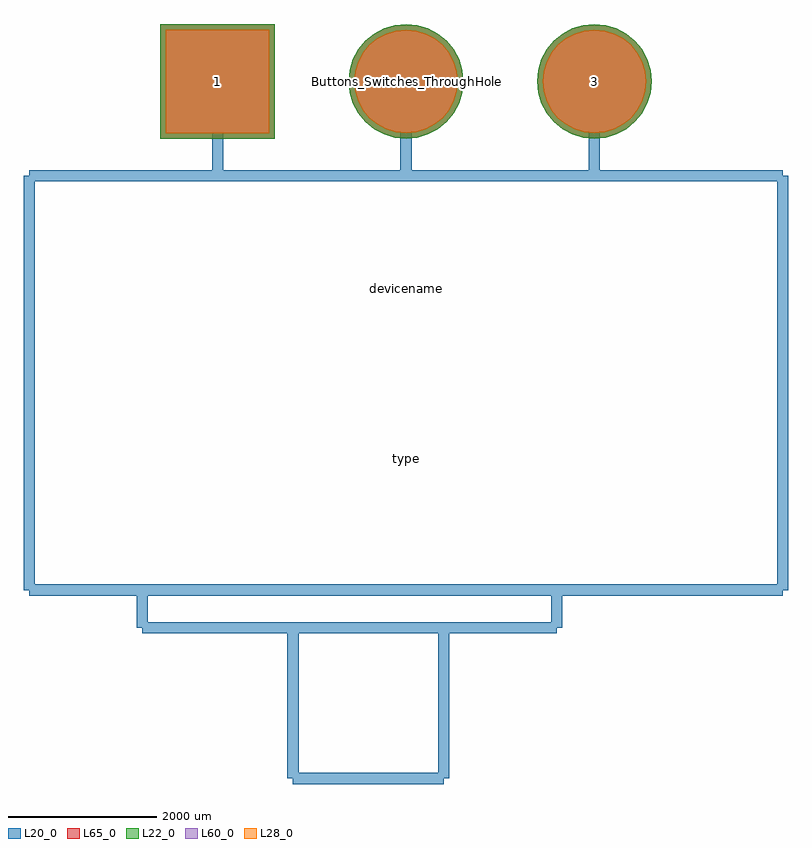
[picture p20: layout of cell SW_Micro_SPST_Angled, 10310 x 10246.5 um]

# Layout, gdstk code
import gdstk
lib = gdstk.Library(unit=1e-6, precision=1e-09)
def R(c, l, rs):  # rectangles x0, y0, x1, y1
    for r in rs: c.add(gdstk.rectangle(r[:2], r[2:], *l))
def P(c, l, *ps):  # polygons
    for p in ps: c.add(gdstk.Polygon(p, *l))
L20_0 = (20, 0)
L22_0 = (22, 0)
L28_0 = (28, 0)
L60_0 = (60, 0)
L65_0 = (65, 0)

sw_micro_spst_angled = lib.new_cell('SW_Micro_SPST_Angled')
R(sw_micro_spst_angled, L22_0, [(-3313.5,-773.5,-1766.5,773.5)])
P(sw_micro_spst_angled, L22_0, [(3313.5,0),(3298.637,150.902),(3254.621,296.006),(3183.142,429.734),(3086.947,546.947),(2969.734,643.142),(2836.006,714.621),(2690.902,758.637),(2540,773.5),(2389.098,758.637),(2243.994,714.621),(2110.266,643.142),(1993.053,546.947),(1896.858,429.734),(1825.379,296.006),(1781.363,150.902),(1766.5,0),(1781.363,-150.902),(1825.379,-296.006),(1896.858,-429.734),(1993.053,-546.947),(2110.266,-643.142),(2243.994,-714.621),(2389.098,-758.637),(2540,-773.5),(2690.902,-758.637),(2836.006,-714.621),(2969.734,-643.142),(3086.947,-546.947),(3183.142,-429.734),(3254.621,-296.006),(3298.637,-150.902)],
  [(773.5,0),(758.637,150.902),(714.621,296.006),(643.142,429.734),(546.947,546.947),(429.734,643.142),(296.006,714.621),(150.902,758.637),(0,773.5),(-150.902,758.637),(-296.006,714.621),(-429.734,643.142),(-546.947,546.947),(-643.142,429.734),(-714.621,296.006),(-758.637,150.902),(-773.5,0),(-758.637,-150.902),(-714.621,-296.006),(-643.142,-429.734),(-546.947,-546.947),(-429.734,-643.142),(-296.006,-714.621),(-150.902,-758.637),(0,-773.5),(150.902,-758.637),(296.006,-714.621),(429.734,-643.142),(546.947,-546.947),(643.142,-429.734),(714.621,-296.006),(758.637,-150.902)])
R(sw_micro_spst_angled, L28_0, [(-3238.5,-698.5,-1841.5,698.5)])
P(sw_micro_spst_angled, L28_0, [(3238.5,0),(3225.079,136.271),(3185.33,267.304),(3120.782,388.066),(3033.914,493.914),(2928.066,580.782),(2807.304,645.33),(2676.271,685.079),(2540,698.5),(2403.729,685.079),(2272.696,645.33),(2151.934,580.782),(2046.086,493.914),(1959.218,388.066),(1894.67,267.304),(1854.921,136.271),(1841.5,0),(1854.921,-136.271),(1894.67,-267.304),(1959.218,-388.066),(2046.086,-493.914),(2151.934,-580.782),(2272.696,-645.33),(2403.729,-685.079),(2540,-698.5),(2676.271,-685.079),(2807.304,-645.33),(2928.066,-580.782),(3033.914,-493.914),(3120.782,-388.066),(3185.33,-267.304),(3225.079,-136.271)],
  [(698.5,0),(685.079,136.271),(645.33,267.304),(580.782,388.066),(493.914,493.914),(388.066,580.782),(267.304,645.33),(136.271,685.079),(0,698.5),(-136.271,685.079),(-267.304,645.33),(-388.066,580.782),(-493.914,493.914),(-580.782,388.066),(-645.33,267.304),(-685.079,136.271),(-698.5,0),(-685.079,-136.271),(-645.33,-267.304),(-580.782,-388.066),(-493.914,-493.914),(-388.066,-580.782),(-267.304,-645.33),(-136.271,-685.079),(0,-698.5),(136.271,-685.079),(267.304,-645.33),(388.066,-580.782),(493.914,-493.914),(580.782,-388.066),(645.33,-267.304),(685.079,-136.271)])
R(sw_micro_spst_angled, L60_0, [(-3238.5,-698.5,-1841.5,698.5)])
P(sw_micro_spst_angled, L60_0, [(3238.5,0),(3225.079,136.271),(3185.33,267.304),(3120.782,388.066),(3033.914,493.914),(2928.066,580.782),(2807.304,645.33),(2676.271,685.079),(2540,698.5),(2403.729,685.079),(2272.696,645.33),(2151.934,580.782),(2046.086,493.914),(1959.218,388.066),(1894.67,267.304),(1854.921,136.271),(1841.5,0),(1854.921,-136.271),(1894.67,-267.304),(1959.218,-388.066),(2046.086,-493.914),(2151.934,-580.782),(2272.696,-645.33),(2403.729,-685.079),(2540,-698.5),(2676.271,-685.079),(2807.304,-645.33),(2928.066,-580.782),(3033.914,-493.914),(3120.782,-388.066),(3185.33,-267.304),(3225.079,-136.271)],
  [(698.5,0),(685.079,136.271),(645.33,267.304),(580.782,388.066),(493.914,493.914),(388.066,580.782),(267.304,645.33),(136.271,685.079),(0,698.5),(-136.271,685.079),(-267.304,645.33),(-388.066,580.782),(-493.914,493.914),(-580.782,388.066),(-645.33,267.304),(-685.079,136.271),(-698.5,0),(-685.079,-136.271),(-645.33,-267.304),(-580.782,-388.066),(-493.914,-493.914),(-388.066,-580.782),(-267.304,-645.33),(-136.271,-685.079),(0,-698.5),(136.271,-685.079),(267.304,-645.33),(388.066,-580.782),(493.914,-493.914),(580.782,-388.066),(645.33,-267.304),(685.079,-136.271)])
R(sw_micro_spst_angled, L65_0, [(-3313.5,-773.5,-1766.5,773.5)])
P(sw_micro_spst_angled, L65_0, [(3313.5,0),(3298.637,150.902),(3254.621,296.006),(3183.142,429.734),(3086.947,546.947),(2969.734,643.142),(2836.006,714.621),(2690.902,758.637),(2540,773.5),(2389.098,758.637),(2243.994,714.621),(2110.266,643.142),(1993.053,546.947),(1896.858,429.734),(1825.379,296.006),(1781.363,150.902),(1766.5,0),(1781.363,-150.902),(1825.379,-296.006),(1896.858,-429.734),(1993.053,-546.947),(2110.266,-643.142),(2243.994,-714.621),(2389.098,-758.637),(2540,-773.5),(2690.902,-758.637),(2836.006,-714.621),(2969.734,-643.142),(3086.947,-546.947),(3183.142,-429.734),(3254.621,-296.006),(3298.637,-150.902)],
  [(773.5,0),(758.637,150.902),(714.621,296.006),(643.142,429.734),(546.947,546.947),(429.734,643.142),(296.006,714.621),(150.902,758.637),(0,773.5),(-150.902,758.637),(-296.006,714.621),(-429.734,643.142),(-546.947,546.947),(-643.142,429.734),(-714.621,296.006),(-758.637,150.902),(-773.5,0),(-758.637,-150.902),(-714.621,-296.006),(-643.142,-429.734),(-546.947,-546.947),(-429.734,-643.142),(-296.006,-714.621),(-150.902,-758.637),(0,-773.5),(150.902,-758.637),(296.006,-714.621),(429.734,-643.142),(546.947,-546.947),(643.142,-429.734),(714.621,-296.006),(758.637,-150.902)])
sw_micro_spst_angled.add(gdstk.FlexPath([(-5080,-1270),(-5080,-6858)], 149.998, ends="flush", simple_path=True, layer=20, datatype=0))  # L20_0
sw_micro_spst_angled.add(gdstk.FlexPath([(5080,-1270),(5080,-6858)], 149.998, ends="flush", simple_path=True, layer=20, datatype=0))  # L20_0
sw_micro_spst_angled.add(gdstk.FlexPath([(-2540,0),(-2540,-1270)], 149.998, ends="flush", simple_path=True, layer=20, datatype=0))  # L20_0
sw_micro_spst_angled.add(gdstk.FlexPath([(0,0),(0,-1270)], 149.998, ends="flush", simple_path=True, layer=20, datatype=0))  # L20_0
sw_micro_spst_angled.add(gdstk.FlexPath([(2540,0),(2540,-1270)], 149.998, ends="flush", simple_path=True, layer=20, datatype=0))  # L20_0
sw_micro_spst_angled.add(gdstk.FlexPath([(-1524,-9398),(508,-9398)], 149.998, ends="flush", simple_path=True, layer=20, datatype=0))  # L20_0
sw_micro_spst_angled.add(gdstk.FlexPath([(2032,-7366),(2032,-6858)], 149.998, ends="flush", simple_path=True, layer=20, datatype=0))  # L20_0
sw_micro_spst_angled.add(gdstk.FlexPath([(-3556,-7366),(2032,-7366)], 149.998, ends="flush", simple_path=True, layer=20, datatype=0))  # L20_0
sw_micro_spst_angled.add(gdstk.FlexPath([(-3556,-6858),(-3556,-7366)], 149.998, ends="flush", simple_path=True, layer=20, datatype=0))  # L20_0
sw_micro_spst_angled.add(gdstk.FlexPath([(-1524,-7366),(-1524,-9398)], 149.998, ends="flush", simple_path=True, layer=20, datatype=0))  # L20_0
sw_micro_spst_angled.add(gdstk.FlexPath([(508,-7366),(508,-9398)], 149.998, ends="flush", simple_path=True, layer=20, datatype=0))  # L20_0
sw_micro_spst_angled.add(gdstk.FlexPath([(-5080,-1270),(5080,-1270)], 149.998, ends="flush", simple_path=True, layer=20, datatype=0))  # L20_0
sw_micro_spst_angled.add(gdstk.FlexPath([(5080,-6858),(-5080,-6858)], 149.998, ends="flush", simple_path=True, layer=20, datatype=0))  # L20_0
sw_micro_spst_angled.add(gdstk.Label('Buttons_Switches_ThroughHole.3dshapes/SW_Micro_SPST_Angled.wrl', (0,0), layer=12, texttype=0))
sw_micro_spst_angled.add(gdstk.Label('3', (2540,0), layer=28, texttype=0))
sw_micro_spst_angled.add(gdstk.Label('2', (0,0), layer=28, texttype=0))
sw_micro_spst_angled.add(gdstk.Label('1', (-2540,0), layer=28, texttype=0))
sw_micro_spst_angled.add(gdstk.Label('type', (0,-5080), layer=9, texttype=0))
sw_micro_spst_angled.add(gdstk.Label('devicename', (0,-2794), layer=9, texttype=0))

lib.write_gds('SW_Micro_SPST_Angled.gds')
